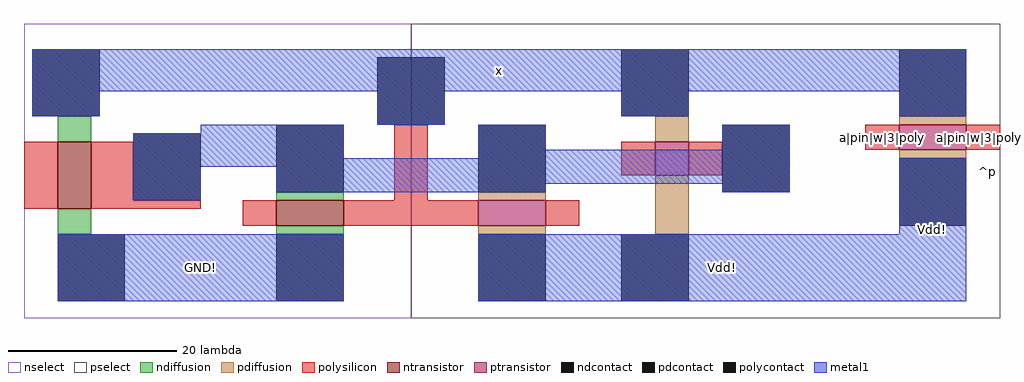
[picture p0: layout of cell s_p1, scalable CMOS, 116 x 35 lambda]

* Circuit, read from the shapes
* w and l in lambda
.subckt s_p1 GND! Vdd! a|pin|w|3|poly x
M1 x n1 GND! VSUBS nfet w=4 l=8
M2 n1 x GND! VSUBS nfet w=8 l=3
M3 n1 x Vdd! NWELL pfet w=8 l=3
M4 x n1 Vdd! NWELL pfet w=4 l=4
M5 x a|pin|w|3|poly Vdd! NWELL pfet w=8 l=3
.ends

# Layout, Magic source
magic
tech scmos
<< nselect >>
rect -46 23 0 58
<< pselect >>
rect 0 23 70 58
<< ndiffusion >>
rect -42 44 -38 47
rect -16 37 -8 38
rect -42 33 -38 36
rect -16 33 -8 34
<< pdiffusion >>
rect 29 44 33 47
rect 58 46 66 47
rect 8 37 16 38
rect 8 33 16 34
rect 29 33 33 40
rect 58 42 66 43
<< ntransistor >>
rect -42 36 -38 44
rect -16 34 -8 37
<< ptransistor >>
rect 29 40 33 44
rect 8 34 16 37
rect 58 43 66 46
<< polysilicon >>
rect -46 36 -42 44
rect -38 37 -33 44
rect -2 37 2 46
rect 25 40 29 44
rect 33 40 37 44
rect -38 36 -25 37
rect -20 34 -16 37
rect -8 34 8 37
rect 16 34 20 37
rect 54 43 58 46
rect 66 43 70 46
<< ndcontact >>
rect -45 47 -37 55
rect -16 38 -8 46
rect -42 25 -34 33
rect -16 25 -8 33
<< pdcontact >>
rect 25 47 33 55
rect 8 38 16 46
rect 58 47 66 55
rect 58 34 66 42
rect 8 25 16 33
rect 25 25 33 33
<< polycontact >>
rect -4 46 4 54
rect -33 37 -25 45
rect 37 38 45 46
<< metal1 >>
rect -45 50 66 55
rect -45 47 -37 50
rect -4 46 4 50
rect 25 47 33 50
rect 58 47 66 50
rect -25 45 -8 46
rect -33 42 -8 45
rect 8 43 16 46
rect 37 43 45 46
rect 8 42 45 43
rect -33 41 45 42
rect -33 37 -25 41
rect -16 39 45 41
rect -16 38 16 39
rect 37 38 45 39
rect 58 33 66 42
rect -42 25 -8 33
rect 8 25 66 33
<< labels >>
rlabel metal1 -45 50 66 55 1 x
rlabel space 66 23 71 58 3 ^p
rlabel polysilicon 54 43 58 46 1 a|pin|w|3|poly
rlabel polysilicon 66 43 70 46 1 a|pin|w|3|poly
rlabel metal1 -42 25 -8 33 1 GND!
rlabel metal1 58 25 66 42 1 Vdd!
rlabel metal1 8 25 66 33 1 Vdd!
<< end >>
